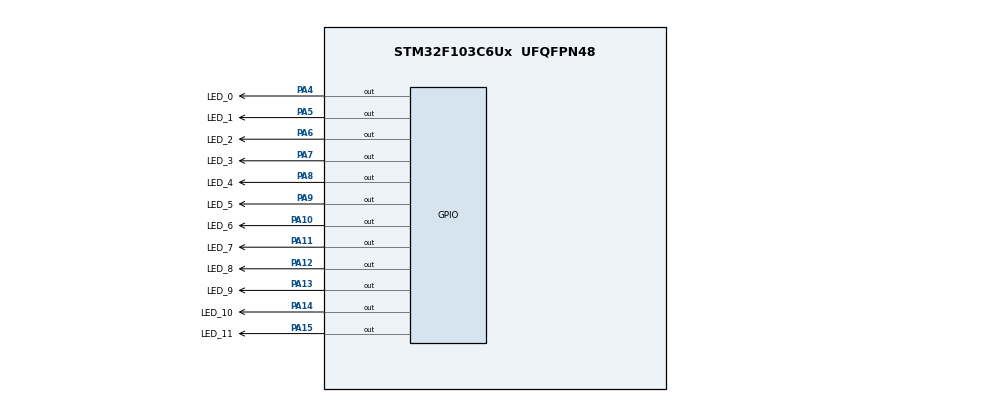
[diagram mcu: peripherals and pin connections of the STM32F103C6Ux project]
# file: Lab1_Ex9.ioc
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Mcu.Family=STM32F1
Mcu.Name=STM32F103C6Ux
Mcu.Package=UFQFPN48
NVIC.PriorityGroup=NVIC_PRIORITYGROUP_4
PA10.GPIO_Label=LED_6
PA10.Signal=GPIO_Output
PA11.GPIO_Label=LED_7
PA11.Signal=GPIO_Output
PA12.GPIO_Label=LED_8
PA12.Signal=GPIO_Output
PA13.GPIO_Label=LED_9
PA13.Signal=GPIO_Output
PA14.GPIO_Label=LED_10
PA14.Signal=GPIO_Output
PA15.GPIO_Label=LED_11
PA15.Signal=GPIO_Output
PA4.GPIO_Label=LED_0
PA4.Signal=GPIO_Output
PA5.GPIO_Label=LED_1
PA5.Signal=GPIO_Output
PA6.GPIO_Label=LED_2
PA6.Signal=GPIO_Output
PA7.GPIO_Label=LED_3
PA7.Signal=GPIO_Output
PA8.GPIO_Label=LED_4
PA8.Signal=GPIO_Output
PA9.GPIO_Label=LED_5
PA9.Signal=GPIO_Output
ProjectManager.HeapSize=0x200
ProjectManager.StackSize=0x400
ProjectManager.TargetToolchain=STM32CubeIDE
RCC.APB1Freq_Value=8000000
RCC.APB2Freq_Value=8000000
VP_SYS_VS_ND.Mode=No_Debug
board=custom

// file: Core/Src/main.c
/* USER CODE BEGIN Header */
/**
  ******************************************************************************
  * @file           : main.c
  * @brief          : Main program body
  ******************************************************************************
  * @attention
  *
  * <h2><center>&copy; Copyright (c) 2022 STMicroelectronics.
  * All rights reserved.</center></h2>
  *
  * This software component is licensed by ST under BSD 3-Clause license,
  * the "License"; You may not use this file except in compliance with the
  * License. You may obtain a copy of the License at:
  *                        opensource.org/licenses/BSD-3-Clause
  *
  ******************************************************************************
  */
/* USER CODE END Header */
#include "main.h"

void SystemClock_Config(void);
static void MX_GPIO_Init(void);

int main(void)
{

  /* MCU Configuration--------------------------------------------------------*/

  /* Reset of all peripherals, Initializes the Flash interface and the Systick. */
  HAL_Init();

  /* Configure the system clock */
  SystemClock_Config();

  /* Initialize all configured peripherals */
  MX_GPIO_Init();
  /* USER CODE BEGIN 2 */
  void clearNumberOnClock(int num){
	  if (num == 0){
	 		  HAL_GPIO_WritePin(LED_0_GPIO_Port, LED_0_Pin, RESET);
	 	  }
	 	  else if (num == 1){
	 		  HAL_GPIO_WritePin(LED_1_GPIO_Port, LED_1_Pin, RESET);
	 	  }
	 	  else if (num == 2){
	 	  		  HAL_GPIO_WritePin(LED_2_GPIO_Port, LED_2_Pin, RESET);
	 	  }
	 	  else if (num == 3){
	 	  		  HAL_GPIO_WritePin(LED_3_GPIO_Port, LED_3_Pin, RESET);
	 	  }
	 	  else if (num == 4){
	 	  		  HAL_GPIO_WritePin(LED_4_GPIO_Port, LED_4_Pin, RESET);
	 	  }
	 	  else if (num == 5){
	 	  		  HAL_GPIO_WritePin(LED_5_GPIO_Port, LED_5_Pin, RESET);
	 	  }
	 	  else if (num == 6){
	 	  		  HAL_GPIO_WritePin(LED_6_GPIO_Port, LED_6_Pin, RESET);
	 	  }
	 	  else if (num == 7){
	 	  		  HAL_GPIO_WritePin(LED_7_GPIO_Port, LED_7_Pin, RESET);
	 	  }
	 	  else if (num == 8){
	 	  	  	  HAL_GPIO_WritePin(LED_8_GPIO_Port, LED_8_Pin, RESET);
	 	  }
	 	  else if (num == 9){
	 	  	  	  HAL_GPIO_WritePin(LED_9_GPIO_Port, LED_9_Pin, RESET);
	 	  }
	 	  else if (num == 10){
	 	  	  	  HAL_GPIO_WritePin(LED_10_GPIO_Port, LED_10_Pin, RESET);
	 	  }
	 	  else if (num == 11){
	 	  	  	  HAL_GPIO_WritePin(LED_11_GPIO_Port, LED_11_Pin, RESET);
	 	  }
  }
  /* USER CODE END 2 */

  /* Infinite loop */
  /* USER CODE BEGIN WHILE */
  int counter = 0;
  while (1)
  {
    /* USER CODE END WHILE */
	  if(counter> 11){
		  counter =0;
	  }
	  clearNumberOnClock(counter);
	  counter++;
	  HAL_Delay(1000);
  }
}

void SystemClock_Config(void)
{
  RCC_OscInitTypeDef RCC_OscInitStruct = {0};
  RCC_ClkInitTypeDef RCC_ClkInitStruct = {0};

  /** Initializes the RCC Oscillators according to the specified parameters
  * in the RCC_OscInitTypeDef structure.
  */
  RCC_OscInitStruct.OscillatorType = RCC_OSCILLATORTYPE_HSI;
  RCC_OscInitStruct.HSIState = RCC_HSI_ON;
  RCC_OscInitStruct.HSICalibrationValue = RCC_HSICALIBRATION_DEFAULT;
  RCC_OscInitStruct.PLL.PLLState = RCC_PLL_NONE;
  if (HAL_RCC_OscConfig(&RCC_OscInitStruct) != HAL_OK)
  {
    Error_Handler();
  }
  /** Initializes the CPU, AHB and APB buses clocks
  */
  RCC_ClkInitStruct.ClockType = RCC_CLOCKTYPE_HCLK|RCC_CLOCKTYPE_SYSCLK
                              |RCC_CLOCKTYPE_PCLK1|RCC_CLOCKTYPE_PCLK2;
  RCC_ClkInitStruct.SYSCLKSource = RCC_SYSCLKSOURCE_HSI;
  RCC_ClkInitStruct.AHBCLKDivider = RCC_SYSCLK_DIV1;
  RCC_ClkInitStruct.APB1CLKDivider = RCC_HCLK_DIV1;
  RCC_ClkInitStruct.APB2CLKDivider = RCC_HCLK_DIV1;

  if (HAL_RCC_ClockConfig(&RCC_ClkInitStruct, FLASH_LATENCY_0) != HAL_OK)
  {
    Error_Handler();
  }
}

static void MX_GPIO_Init(void)
{
  GPIO_InitTypeDef GPIO_InitStruct = {0};

  /* GPIO Ports Clock Enable */
  __HAL_RCC_GPIOA_CLK_ENABLE();

  /*Configure GPIO pin Output Level */
  HAL_GPIO_WritePin(GPIOA, LED_0_Pin|LED_1_Pin|LED_2_Pin|LED_3_Pin
                          |LED_4_Pin|LED_5_Pin|LED_6_Pin|LED_7_Pin
                          |LED_8_Pin|LED_9_Pin|LED_10_Pin|LED_11_Pin, GPIO_PIN_RESET);

  /*Configure GPIO pins : LED_0_Pin LED_1_Pin LED_2_Pin LED_3_Pin
                           LED_4_Pin LED_5_Pin LED_6_Pin LED_7_Pin
                           LED_8_Pin LED_9_Pin LED_10_Pin LED_11_Pin */
  GPIO_InitStruct.Pin = LED_0_Pin|LED_1_Pin|LED_2_Pin|LED_3_Pin
                          |LED_4_Pin|LED_5_Pin|LED_6_Pin|LED_7_Pin
                          |LED_8_Pin|LED_9_Pin|LED_10_Pin|LED_11_Pin;
  GPIO_InitStruct.Mode = GPIO_MODE_OUTPUT_PP;
  GPIO_InitStruct.Pull = GPIO_NOPULL;
  GPIO_InitStruct.Speed = GPIO_SPEED_FREQ_LOW;
  HAL_GPIO_Init(GPIOA, &GPIO_InitStruct);

}

void Error_Handler(void)
{
  __disable_irq();
  while (1)
  {
  }
}

/************************ (C) COPYRIGHT STMicroelectronics *****END OF FILE****/
